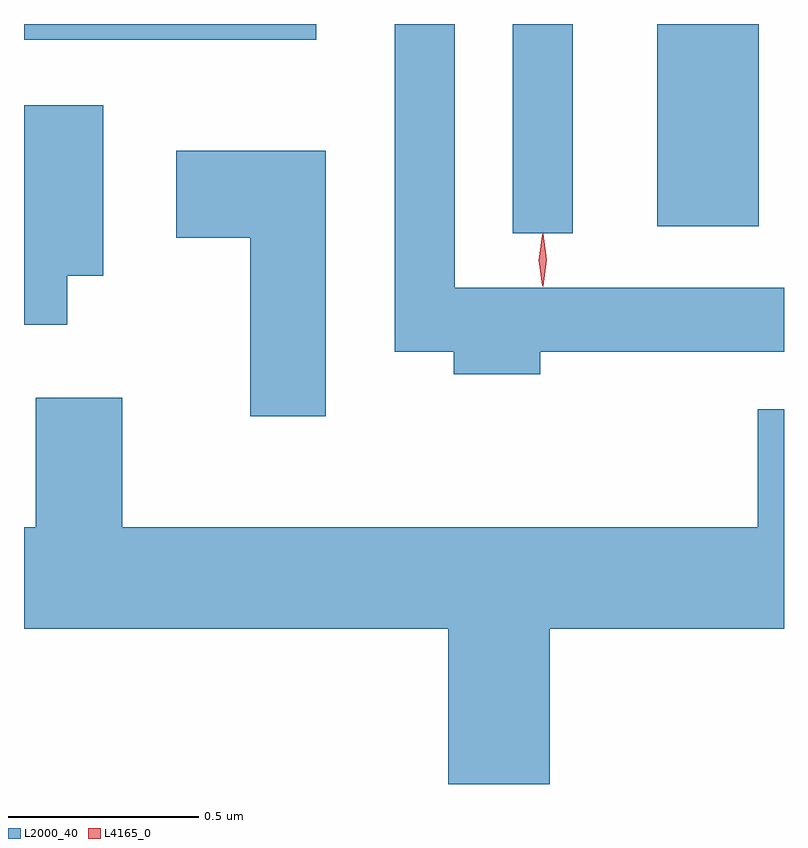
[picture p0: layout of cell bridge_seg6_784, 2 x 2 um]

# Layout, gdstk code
import gdstk
lib = gdstk.Library(unit=1e-6, precision=1e-09)
def R(c, l, rs):  # rectangles x0, y0, x1, y1
    for r in rs: c.add(gdstk.rectangle(r[:2], r[2:], *l))
def P(c, l, *ps):  # polygons
    for p in ps: c.add(gdstk.Polygon(p, *l))
L2000_40 = (2000, 40)
L4165_0 = (4165, 0)

bridge_seg6_784 = lib.new_cell('bridge_seg6_784')
R(bridge_seg6_784, L2000_40, [(452.416,1579.938,452.574,1580.488), (452.796,1579.956,453.064,1580.488), (451.13,1580.446,451.899,1580.488)])
P(bridge_seg6_784, L2000_40, [(452.489,1579.626),(453.13,1579.626),(453.13,1579.794),(452.264,1579.794),(452.264,1580.488),(452.106,1580.488),(452.106,1579.626),(452.261,1579.626),(452.261,1579.566),(452.489,1579.566)],
  [(451.244,1579.826),(451.339,1579.826),(451.339,1580.274),(451.13,1580.274),(451.13,1579.696),(451.244,1579.696)],
  [(451.924,1580.154),(451.531,1580.154),(451.531,1579.926),(451.726,1579.926),(451.726,1579.456),(451.924,1579.456)],
  [(451.389,1579.504),(451.161,1579.504),(451.161,1579.164),(451.13,1579.164),(451.13,1578.896),(452.246,1578.896),(452.246,1578.488),(452.514,1578.488),(452.514,1578.896),(453.13,1578.896),(453.13,1579.474),(453.061,1579.474),(453.061,1579.164),(451.389,1579.164)])
P(bridge_seg6_784, L4165_0, [(452.496,1579.797),(452.495,1579.798),(452.486,1579.867),(452.495,1579.936),(452.496,1579.936),(452.496,1579.936),(452.506,1579.867),(452.496,1579.798)],
  [(452.494,1579.8),(452.485,1579.866),(452.494,1579.932),(452.494,1579.933),(452.495,1579.932),(452.504,1579.866),(452.495,1579.8),(452.495,1579.8)])

lib.write_gds('bridge_seg6_784.gds')
